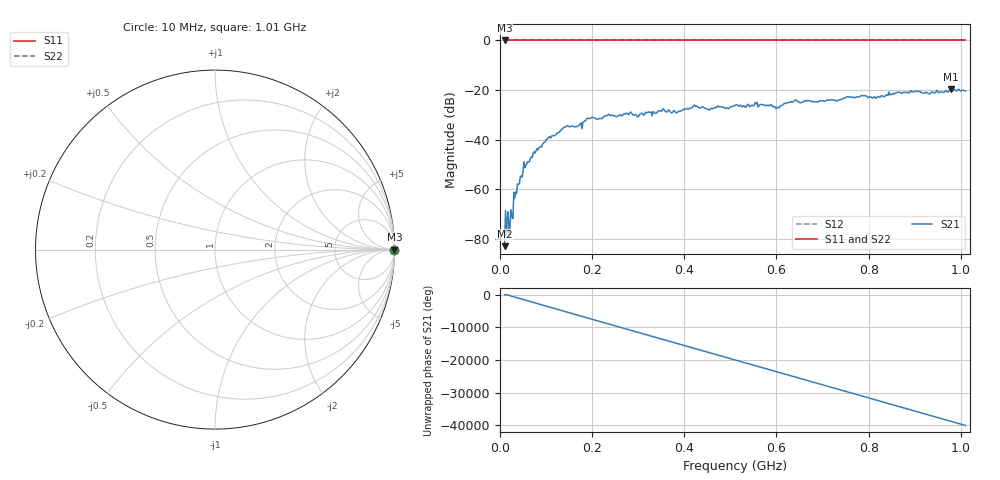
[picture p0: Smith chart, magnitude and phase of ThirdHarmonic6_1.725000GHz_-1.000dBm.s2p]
! 8/16/2025 8:46:26 PM
! C:\ANRITSUVNA\TEMP\TEMP.S2P
! CHANNEL.1
! TR.MEASUREMENT
! RAW.DATA
! RF.CORRECTION.OFF
! AVERAGING.OFF
! IF.BANDWIDTH: 5KHZ
! SWEEPTYPE:  FREQ.SWEEP(Linear)
! Reference Plane Port Info
! PORT:  PORT1  PORT2
! DISTANCE:  0  m  0  m
! TIME:  0  s  0  s
! PHASE.OFFSET:  0  deg.  0  deg.
! LOSS:  0  dB  0  dB
! REF.LOSS:  0  dB  0  dB
! REF.FREQ:  0  Hz  0  Hz
! Power Info
! POWER:  -20  dBm  -20  dBm
! EFF.POWER:  -20  dBm  -20  dBm
! SOURCE.ATTEN:  0  dB  0  dB
! TEST.ATTEN:  0  dB  0  dB
# GHZ S RI R 50.0
! FREQ.GHZ  S11RE  S11IM  S21RE  S21IM  S12RE  S12IM  S22RE  S22IM
!; PortSelection: Port_12
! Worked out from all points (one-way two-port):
!   501 points, 10 MHz to 1.01 GHz, reference 50 ohm
!   highest |S21| = -19.63 dB at 978 MHz (marker M1); lowest = -83.1 dB at 10 MHz (marker M2)
!   lowest |S11| = 0.0 dB at 10 MHz (marker M3)
!   |S11| at or under -10 dB: nowhere
!   |S22| runs from 0.0 to 0.0 dB; largest |S21 - S12| = 1.1
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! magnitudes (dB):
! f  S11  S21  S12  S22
! 10 MHz  0.0  -83.1  0.0  0.0
! 14 MHz  0.0  -78.5  0.0  0.0
! 18 MHz  0.0  -69.2  0.0  0.0
! 20 MHz  0.0  -79.0  0.0  0.0
! 24 MHz  0.0  -68.4  0.0  0.0
! 26 MHz  0.0  -71.0  0.0  0.0
! 34 MHz  0.0  -61.2  0.0  0.0
! 56 MHz  0.0  -50.4  0.0  0.0
! 104 MHz  0.0  -39.5  0.0  0.0
! 142 MHz  0.0  -35.0  0.0  0.0
! 178 MHz  0.0  -35.7  0.0  0.0
! 192 MHz  0.0  -31.5  0.0  0.0
! 234 MHz  0.0  -30.1  0.0  0.0
! 300 MHz  0.0  -30.8  0.0  0.0
! 344 MHz  0.0  -28.5  0.0  0.0
! 510 MHz  0.0  -26.3  0.0  0.0
! 602 MHz  0.0  -26.9  0.0  0.0
! 640 MHz  0.0  -24.1  0.0  0.0
! 678 MHz  0.0  -24.6  0.0  0.0
! 844 MHz  0.0  -20.8  0.0  0.0
! 978 MHz  0.0  -19.6  0.0  0.0
! 1.01 GHz  0.0  -20.3  0.0  0.0
